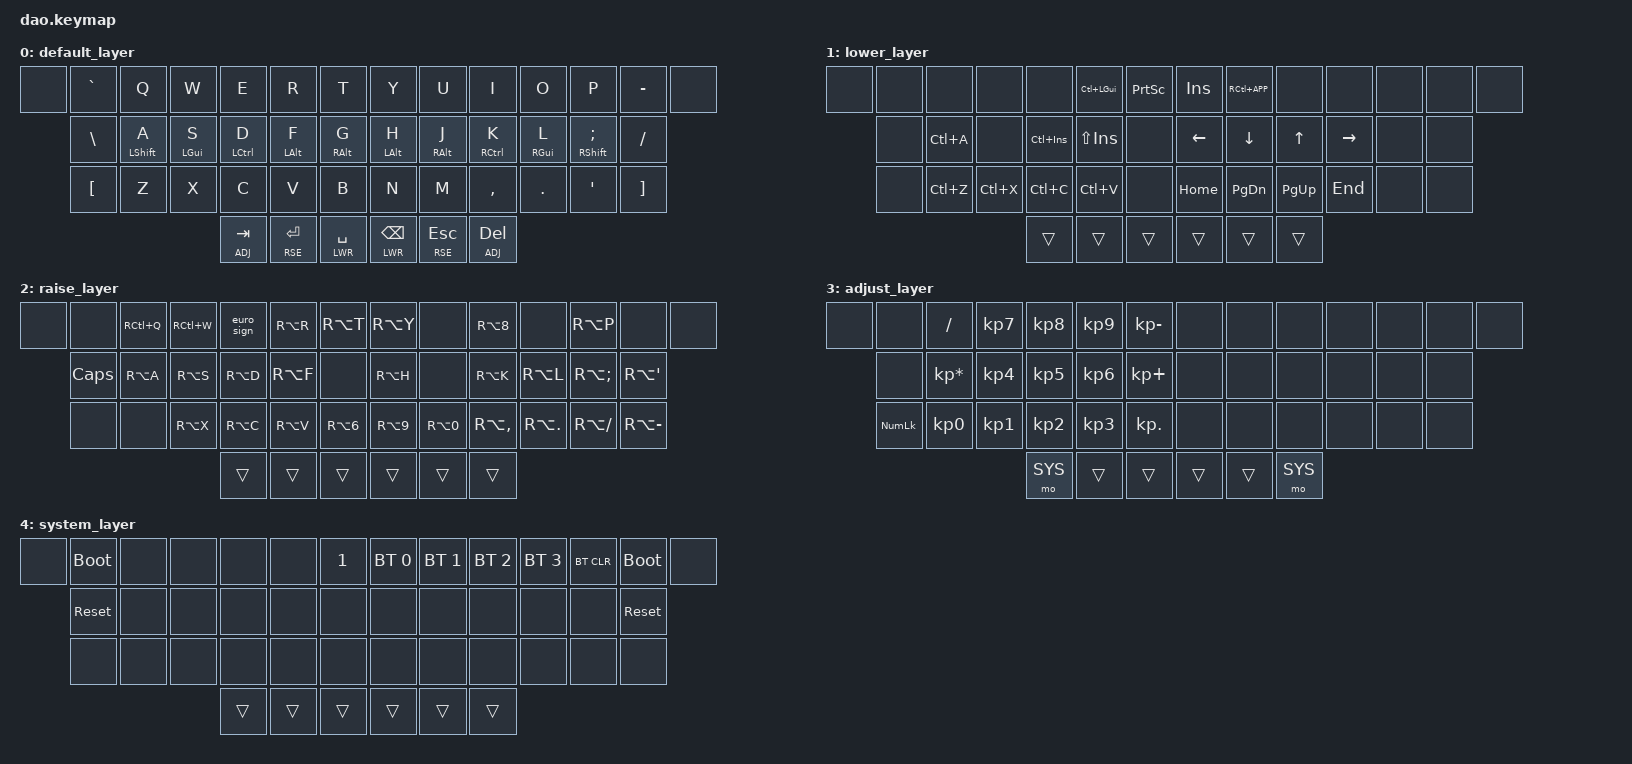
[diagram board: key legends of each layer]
/*
 * Copyright (c) 2021 Rafael Yumagulov
 *
 * SPDX-License-Identifier: MIT
 */

#define HOST_OS 1 // 0 — Win, 1 — Linux, 2 — MacOS

#include <behaviors.dtsi>
#include "../../../../../helper/helper.h"
#include <dt-bindings/zmk/keys.h>
#include <dt-bindings/zmk/bt.h>

#define DEF 0
#define LWR 1
#define RSE 2
#define ADJ 3
#define SYS 4

// Switch language
#define ENG &kp LC(LGUI)
#define RUS &kp RC(K_APP)

#define _v_ &trans
#define ___ &none

&lt { quick_tap_ms = <200>; };
&mt { quick_tap_ms = <150>; };

// unicode symbols
ZMK_UNICODE_SINGLE(euro_sign, N2, N0, A, C)  // €

/ {
        behaviors {
            hm: homerow_mods {
                compatible = "zmk,behavior-hold-tap";
                label = "HOMEROW_MODS";
                #binding-cells = <2>;
                tapping-term-ms = <250>;
                quick-tap-ms = <150>;
                flavor = "tap-preferred";
                bindings =
                    <&kp>,
                    <&kp>;
            };
        };

        combos {
            compatible = "zmk,combos";

            kp_f11 {
                bindings = <&kp F11>;
                key-positions = <1 14>;
                layers = <0>;
            };

            kp_f9 {
                bindings = <&kp F9>;
                key-positions = <2 15>;
                layers = <0>;
            };

            kp_f7 {
                bindings = <&kp F7>;
                key-positions = <3 16>;
                layers = <0>;
            };

            kp_f5 {
                bindings = <&kp F5>;
                key-positions = <4 17>;
                layers = <0>;
            };

            kp_f3 {
                bindings = <&kp F3>;
                key-positions = <5 18>;
                layers = <0>;
            };

            kp_f1 {
                bindings = <&kp F1>;
                key-positions = <6 19>;
                layers = <0>;
            };

            kp_f2 {
                bindings = <&kp F2>;
                key-positions = <7 20>;
                layers = <0>;
            };

            kp_f4 {
                bindings = <&kp F4>;
                key-positions = <8 21>;
                layers = <0>;
            };

            kp_f6 {
                bindings = <&kp F6>;
                key-positions = <9 22>;
                layers = <0>;
            };

            kp_f8 {
                bindings = <&kp F8>;
                key-positions = <10 23>;
                layers = <0>;
            };

            kp_f10 {
                bindings = <&kp F10>;
                key-positions = <11 24>;
                layers = <0>;
            };

            kp_f12 {
                bindings = <&kp F12>;
                key-positions = <12 25>;
                layers = <0>;
            };

            kp_equal {
                bindings = <&kp EQUAL>;
                key-positions = <14 26>;
                layers = <0>;
            };

            kp_9 {
                bindings = <&kp N9>;
                key-positions = <15 27>;
                layers = <0>;
            };

            kp_7 {
                bindings = <&kp N7>;
                key-positions = <16 28>;
                layers = <0>;
            };

            kp_5 {
                bindings = <&kp N5>;
                key-positions = <17 29>;
                layers = <0>;
            };

            kp_3 {
                bindings = <&kp N3>;
                key-positions = <18 30>;
                layers = <0>;
            };

            kp_1 {
                bindings = <&kp N1>;
                key-positions = <19 31>;
                layers = <0>;
            };

            kp_2 {
                bindings = <&kp N2>;
                key-positions = <20 32>;
                layers = <0>;
            };

            kp_4 {
                bindings = <&kp N4>;
                key-positions = <21 33>;
                layers = <0>;
            };

            kp_6 {
                bindings = <&kp N6>;
                key-positions = <22 34>;
                layers = <0>;
            };

            kp_8 {
                bindings = <&kp N8>;
                key-positions = <23 35>;
                layers = <0>;
            };

            kp_0 {
                bindings = <&kp N0>;
                key-positions = <24 36>;
                layers = <0>;
            };

            kp_minus {
                bindings = <&kp MINUS>;
                key-positions = <25 37>;
                layers = <0>;
            };

            // toggle language
            kp_scroll_lock {
                bindings = <&kp SLCK>;
                key-positions = <15 24>;
                layers = <0>;
            };

            // switch language
            kp_eng {
                bindings = <ENG>;
                key-positions = <17 18>;
                layers = <0>;
            };

            kp_rus {
                bindings = <RUS>;
                key-positions = <21 22>;
                layers = <0>;
            };

            // from left pinky second column
            // =+
            kp_equal_hor {
                bindings = <&kp EQUAL>;
                key-positions = <2 3>;
                layers = <0>;
            };

            // `~
            kp_grave {
                bindings = <&kp GRAVE>;
                key-positions = <3 4>;
                layers = <0>;
            };

            // \|
            kp_back_slash {
                bindings = <&kp BSLH>;
                key-positions = <15 16>;
                layers = <0>;
            };

            // [{
            kp_left_bracket {
                bindings = <&kp LBKT>;
                key-positions = <27 28>;
                layers = <0>;
            };

            // from right pinky second column
            // -_
            kp_minus_hor {
                bindings = <&kp MINUS>;
                key-positions = <10 11>;
                layers = <0>;
            };

            // /?
            kp_forward_slash {
                bindings = <&kp FSLH>;
                key-positions = <23 24>;
                layers = <0>;
            };

            // ]}
            kp_right_bracket {
                bindings = <&kp RBKT>;
                key-positions = <35 36>;
                layers = <0>;
            };
};


        keymap {
                compatible = "zmk,keymap";

                default_layer {
                        bindings = <
//.-[00]--------v-[01]--------v-[02]--------v-[03]--------v-[04]--------v-[05]--------v-[06]--------.  .-[07]--------v-[08]--------v-[09]--------v-[10]--------v-[11]--------v-[12]--------v-[13]--------.
//|             |             |           {=|+}         {`|~}           |             |             |  |             |             |             |           {-|_}           |             |             |
     ___          &kp GRAVE     &kp Q         &kp W         &kp E         &kp R         &kp T            &kp Y         &kp U         &kp I         &kp O         &kp P         &kp MINUS       ___
//|             |          ёЁ |          йЙ |          цЦ |          уУ |          кК |          еЕ |  |          нН |          гГ |          шШ |          щЩ |          зЗ |          -- |             |
//'-------------|-[14]{F11}---|-[15]{F9}----|-[16]{F7}----|-[17]{F5}----|-[18]{F3}----|-[19]{F1}----|  |-[20]{F2}----|-[21]{F4}----|-[22]{F6}----|-[23]{F8}----|-[24]{F10}---|-[25]{F12}---|-------------'
//              |             |           {\||}           |         {ENG|ENG}         |             |  |             |         {RUS|RUS}         |           {/|?}           |             |
                  &kp BSLH      &hm LSHFT A   &hm LGUI S    &hm LCTRL D   &hm LALT F    &hm RALT G       &hm LALT H    &hm RALT J    &hm RCTRL K   &hm RGUI L   &hm RSHFT SEMI &kp FSLH
//              |          \/ |          фФ |          ыЫ |          вВ |          аА |          пП |  |          рР |          оО |          лЛ |          дД |          жЖ |          ., |
//              |-[26]{EQUAL}-|-[27]{N9}----|-[28]{N7}----|-[29]{N5}----|-[30]{N3}----|-[31]{N1}----|  |-[32]{N2}----|-[33]{N4}----|-[34]{N6}----|-[35]{N8}----|-[36]{N0}----|-[37]{MINUS}-|
//              |             |           {[|{}           |             |             |             |  |             |             |             |           {]|}}           |             |
                  &kp LBKT      &kp Z         &kp X         &kp C         &kp V         &kp B            &kp N         &kp M         &kp COMMA     &kp DOT       &kp SQT       &kp RBKT
//              |          хХ |          яЯ |          чЧ |          сС |          мМ |          иИ |  |          тТ |          ьЬ |          бБ |          юЮ |          эЭ |          ъЪ |
//              '-------------^-------------^-------------|-[38]--------|-[39]--------|-[40]--------|  |-[41]--------|-[42]--------|-[43]--------|-------------^-------------^-------------'
//                                                        |             |             |             |  |             |             |             |
                                                            &lt ADJ TAB   &lt RSE RET  &lt LWR SPACE     &lt LWR BSPC  &lt RSE ESC   &lt ADJ DEL
//                                                        |             |             |             |  |             |             |             |
//                                                        '-------------^------------^--------------'  '-------------^-------------^-------------'
                        >;
                };

                lower_layer {
                        bindings = <
//.-[00]--------v-[01]--------v-[02]--------v-[03]--------v-[04]--------v-[05]--------v-[06]--------.  .-[07]--------v-[08]--------v-[09]--------v-[10]--------v-[11]--------v-[12]--------v-[13]--------.
//|             |             |             |             |             |             |             |  |             |             |             |             |             |             |             |
    ___           ___           ___           ___           ___           ENG           &kp PSCRN        &kp INS       RUS           ___           ___           ___           ___           ___
//|             |             |             |             |             |             |             |  |             |             |             |             |             |             |             |
//'-------------|-[14]--------|-[15]--------|-[16]--------|-[17]--------|-[18]--------|-[19]--------|  |-[20]--------|-[21]--------|-[22]--------|-[23]--------|-[24]--------|-[25]--------|-------------'
//              |             |             |             |             |             |             |  |             |             |             |             |             |             |
                  ___           &kp LC(A)     ___           &kp LC(INS)   &kp LS(INS)   ___              &kp LEFT      &kp DOWN      &kp UP        &kp RIGHT     ___           ___
//              |             |             |             |             |             |             |  |             |             |             |             |             |             |
//              |-[26]--------|-[27]--------|-[28]--------|-[29]--------|-[30]--------|-[31]--------|  |-[32]--------|-[33]--------|-[34]--------|-[35]--------|-[36]--------|-[37]--------|
//              |             |             |             |             |             |             |  |             |             |             |             |             |             |
                  ___           &kp LC(Z)     &kp LC(X)     &kp LC(C)     &kp LC(V)     ___              &kp HOME      &kp PG_DN     &kp PG_UP     &kp END       ___           ___
//              |             |             |             |             |             |             |  |             |             |             |             |             |             |
//              '-------------^-------------^-------------|-[38]--------|-[39]--------|-[40]--------|  |-[41]--------|-[42]--------|-[43]--------|-------------^-------------^-------------'
//                                                        |             |             |             |  |             |             |             |
                                                            _v_           _v_           _v_              _v_           _v_           _v_
//                                                        |             |             |             |  |             |             |             |
//                                                        '-------------^-------------^-------------'  '-------------^-------------^-------------'
                        >;
                };

                raise_layer {
                        bindings = <
//.-[00]--------v-[01]--------v-[02]--------v-[03]--------v-[04]--------v-[05]--------v-[06]--------.  .-[07]--------v-[08]--------v-[09]--------v-[10]--------v-[11]--------v-[12]--------v-[13]--------.
//|             |             |             |             |             |             |             |  |             |             |             |             |             |             |             |
    ___           ___           &kp RC(Q)     &kp RC(W)     &euro_sign    &kp RA(R)     &kp RA(T)        &kp RA(Y)     ___           &kp RA(N8)    ___           &kp RA(P)     ___           ___
//|             |             |             |             |             |             |             |  |             |             |             |             |             |             |             |
//'-------------|-[14]--------|-[15]--------|-[16]--------|-[17]--------|-[18]--------|-[19]--------|  |-[20]--------|-[21]--------|-[22]--------|-[23]--------|-[24]--------|-[25]--------|-------------'
//              |             |             |             |             |             |             |  |             |             |             |             |             |             |
                  &kp CAPS      &kp RA(A)     &kp RA(S)     &kp RA(D)     &kp RA(F)     ___              &kp RA(H)     ___           &kp RA(K)     &kp RA(L)     &kp RA(SEMI)  &kp RA(SQT)
//              |             |             |             |             |             |             |  |             |             |             |             |             |             |
//              |-[26]--------|-[27]--------|-[28]--------|-[29]--------|-[30]--------|-[31]--------|  |-[32]--------|-[33]--------|-[34]--------|-[35]--------|-[36]--------|-[37]--------|
//              |             |             |             |             |             |             |  |             |             |             |             |             |             |
                  ___           ___           &kp RA(X)     &kp RA(C)     &kp RA(V)     &kp RA(N6)       &kp RA(N9)    &kp RA(N0)    &kp RA(COMMA) &kp RA(DOT)   &kp RA(FSLH)  &kp RA(MINUS)
//              |             |             |             |             |             |             |  |             |             |             |             |             |             |
//              '-------------^-------------^-------------|-[38]--------|-[39]--------|-[40]--------|  |-[41]--------|-[42]--------|-[43]--------|-------------^-------------^-------------'
//                                                        |             |             |             |  |             |             |             |
                                                            _v_           _v_           _v_              _v_           _v_           _v_
//                                                        |             |             |             |  |             |             |             |
//                                                        '-------------^-------------^-------------'  '-------------^-------------^-------------'
                        >;
                };

                adjust_layer {
                        bindings = <
//.-[00]--------v-[01]--------v-[02]--------v-[03]--------v-[04]--------v-[05]--------v-[06]--------.  .-[07]--------v-[08]--------v-[09]--------v-[10]--------v-[11]--------v-[12]--------v-[13]--------.
//|             |             |             |             |             |             |             |  |             |             |             |             |             |             |             |
     ___          ___           &kp SLASH     &kp KP_N7     &kp KP_N8     &kp KP_N9     &kp KP_MINUS     ___           ___           ___           ___           ___           ___            ___
//|             |             |             |             |             |             |             |  |             |             |             |             |             |             |             |
//'-------------|-[14]--------|-[15]--------|-[16]--------|-[17]--------|-[18]--------|-[19]--------|  |-[20]--------|-[21]--------|-[22]--------|-[23]--------|-[24]--------|-[25]--------|-------------'
//              |             |             |             |             |             |             |  |             |             |             |             |             |             |
                  ___         &kp KP_MULTIPLY &kp KP_N4     &kp KP_N5     &kp KP_N6     &kp KP_PLUS      ___           ___           ___           ___           ___           ___
//              |             |             |             |             |             |             |  |             |             |             |             |             |             |
//              |-[26]--------|-[27]--------|-[28]--------|-[29]--------|-[30]--------|-[31]--------|  |-[32]--------|-[33]--------|-[34]--------|-[35]--------|-[36]--------|-[37]--------|
//              |             |             |             |             |             |             |  |             |             |             |             |             |             |
                  &kp KP_NUM    &kp KP_N0     &kp KP_N1     &kp KP_N2     &kp KP_N3     &kp KP_DOT       ___           ___           ___           ___           ___           ___
//              |             |             |             |             |             |             |  |             |             |             |             |             |             |
//              '-------------^-------------^-------------|-[38]--------|-[39]--------|-[40]--------|  |-[41]--------|-[42]--------|-[43]--------|-------------^-------------^-------------'
//                                                        |             |             |             |  |             |             |             |
                                                            &mo SYS       _v_           _v_              _v_           _v_           &mo SYS
//                                                        |             |             |             |  |             |             |             |
//                                                        '-------------^-------------^-------------'  '-------------^-------------^-------------'
                        >;
                };

                system_layer {
                        bindings = <
//.-[00]--------v-[01]--------v-[02]--------v-[03]--------v-[04]--------v-[05]--------v-[06]--------.  .-[07]--------v-[08]--------v-[09]--------v-[10]--------v-[11]--------v-[12]--------v-[13]--------.
//|             |             |             |             |             |             |             |  |             |             |             |             |             |             |             |
     ___          &bootloader   ___           ___           ___           ___           &kp N1           &bt BT_SEL 0  &bt BT_SEL 1  &bt BT_SEL 2  &bt BT_SEL 3  &bt BT_CLR    &bootloader    ___
//|             |             |             |             |             |             |             |  |             |             |             |             |             |             |             |
//'-------------|-[14]--------|-[15]--------|-[16]--------|-[17]--------|-[18]--------|-[19]--------|  |-[20]--------|-[21]--------|-[22]--------|-[23]--------|-[24]--------|-[25]--------|-------------'
//              |             |             |             |             |             |             |  |             |             |             |             |             |             |
                  &sys_reset    ___           ___           ___           ___           ___              ___           ___           ___           ___           ___           &sys_reset
//              |             |             |             |             |             |             |  |             |             |             |             |             |             |
//              |-[26]--------|-[27]--------|-[28]--------|-[29]--------|-[30]--------|-[31]--------|  |-[32]--------|-[33]--------|-[34]--------|-[35]--------|-[36]--------|-[37]--------|
//              |             |             |             |             |             |             |  |             |             |             |             |             |             |
                  ___           ___           ___           ___           ___           ___              ___           ___           ___           ___           ___           ___
//              |             |             |             |             |             |             |  |             |             |             |             |             |             |
//              '-------------^-------------^-------------|-[38]--------|-[39]--------|-[40]--------|  |-[41]--------|-[42]--------|-[43]--------|-------------^-------------^-------------'
//                                                        |             |             |             |  |             |             |             |
                                                            _v_           _v_           _v_              _v_           _v_           _v_
//                                                        |             |             |             |  |             |             |             |
//                                                        '-------------^-------------^-------------'  '-------------^-------------^-------------'
                        >;
                };

        };
};
